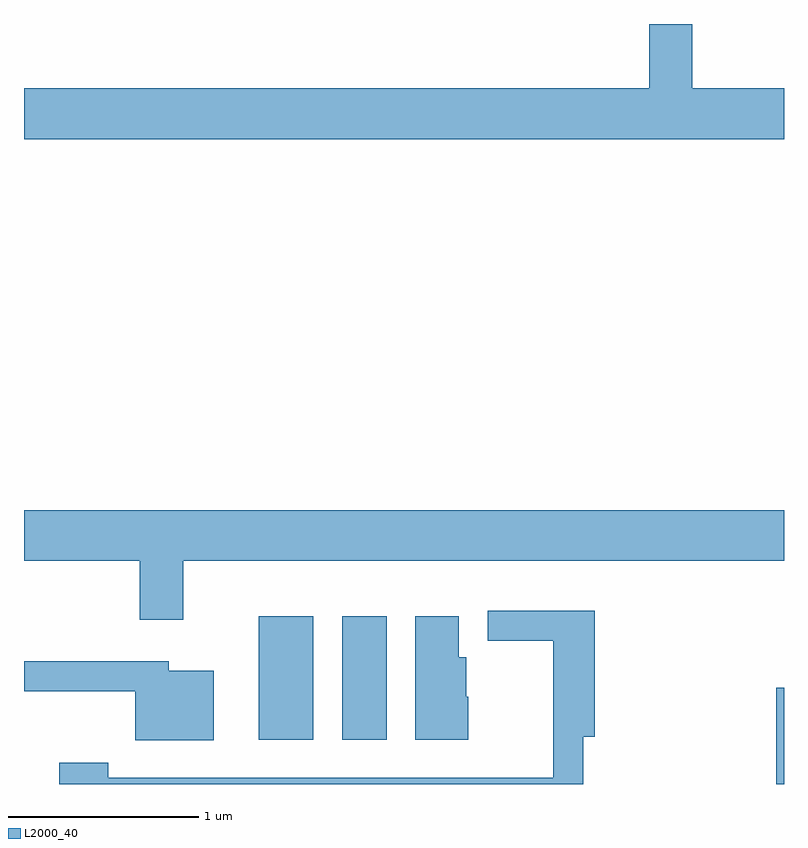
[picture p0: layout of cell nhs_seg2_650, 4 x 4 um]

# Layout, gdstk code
import gdstk
lib = gdstk.Library(unit=1e-6, precision=1e-09)
def R(c, l, rs):  # rectangles x0, y0, x1, y1
    for r in rs: c.add(gdstk.rectangle(r[:2], r[2:], *l))
def P(c, l, *ps):  # polygons
    for p in ps: c.add(gdstk.Polygon(p, *l))
L2000_40 = (2000, 40)

nhs_seg2_650 = lib.new_cell('nhs_seg2_650')
R(nhs_seg2_650, L2000_40, [(207.571,1053.802,207.611,1054.309), (204.846,1054.036,205.134,1054.684), (205.286,1054.036,205.519,1054.684)])
P(nhs_seg2_650, L2000_40, [(207.611,1057.464),(207.129,1057.464),(207.129,1057.802),(206.901,1057.802),(206.901,1057.464),(203.611,1057.464),(203.611,1057.196),(207.611,1057.196)],
  [(204.449,1054.976),(207.611,1054.976),(207.611,1055.244),(203.611,1055.244),(203.611,1054.976),(204.221,1054.976),(204.221,1054.666),(204.449,1054.666)],
  [(206.554,1054.051),(206.614,1054.051),(206.614,1054.714),(206.053,1054.714),(206.053,1054.556),(206.396,1054.556),(206.396,1053.834),(204.054,1053.834),(204.054,1053.914),(203.796,1053.914),(203.796,1053.802),(206.554,1053.802)],
  [(205.949,1054.26),(205.939,1054.26),(205.939,1054.469),(205.899,1054.469),(205.899,1054.684),(205.671,1054.684),(205.671,1054.036),(205.949,1054.036)],
  [(204.609,1054.399),(204.374,1054.399),(204.374,1054.449),(203.611,1054.449),(203.611,1054.291),(204.196,1054.291),(204.196,1054.031),(204.609,1054.031)])

lib.write_gds('nhs_seg2_650.gds')
